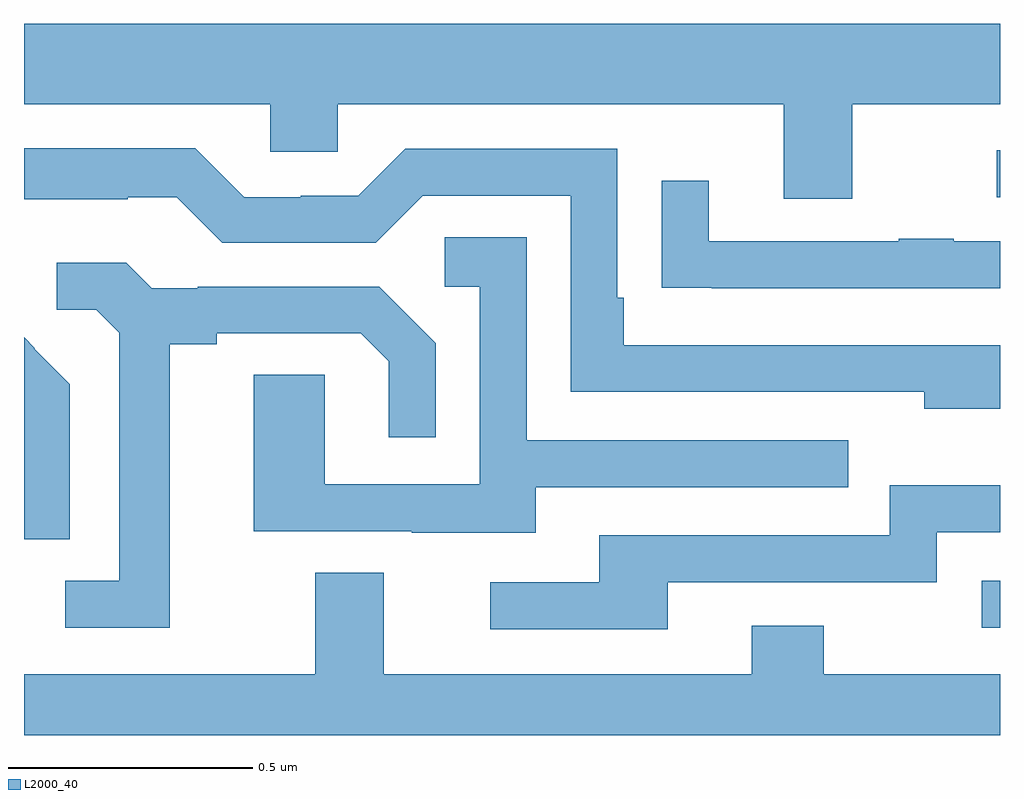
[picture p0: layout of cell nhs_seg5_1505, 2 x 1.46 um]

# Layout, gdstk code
import gdstk
lib = gdstk.Library(unit=1e-6, precision=1e-09)
def R(c, l, rs):  # rectangles x0, y0, x1, y1
    for r in rs: c.add(gdstk.rectangle(r[:2], r[2:], *l))
def P(c, l, *ps):  # polygons
    for p in ps: c.add(gdstk.Polygon(p, *l))
L2000_40 = (2000, 40)

nhs_seg5_1505 = lib.new_cell('nhs_seg5_1505')
R(nhs_seg5_1505, L2000_40, [(132.963,857.019,133,857.115), (132.993,857.901,133,857.997)])
P(nhs_seg5_1505, L2000_40, [(132.697,858.092),(133,858.092),(133,858.256),(131,858.256),(131,858.092),(131.505,858.092),(131.505,857.994),(131.643,857.994),(131.643,858.092),(132.557,858.092),(132.557,857.898),(132.697,857.898)],
  [(133,857.598),(132.229,857.598),(132.229,857.695),(132.216,857.695),(132.216,858),(131.781,858),(131.685,857.904),(131.567,857.904),(131.567,857.901),(131.451,857.901),(131.351,858.001),(131,858.001),(131,857.897),(131.213,857.897),(131.213,857.901),(131.313,857.901),(131.406,857.808),(131.721,857.808),(131.817,857.904),(132.12,857.904),(132.12,857.502),(132.845,857.502),(132.845,857.468),(133,857.468)],
  [(133,857.811),(132.905,857.811),(132.905,857.816),(132.793,857.816),(132.793,857.811),(132.403,857.811),(132.403,857.935),(132.307,857.935),(132.307,857.716),(132.409,857.716),(132.409,857.715),(133,857.715)],
  [(132.049,857.307),(132.689,857.307),(132.689,857.403),(132.03,857.403),(132.03,857.819),(131.862,857.819),(131.862,857.718),(131.934,857.718),(131.934,857.313),(131.616,857.313),(131.616,857.537),(131.471,857.537),(131.471,857.217),(131.795,857.217),(131.795,857.213),(132.049,857.213)],
  [(131.299,857.6),(131.395,857.6),(131.395,857.622),(131.69,857.622),(131.747,857.565),(131.747,857.409),(131.844,857.409),(131.844,857.602),(131.728,857.718),(131.356,857.718),(131.356,857.715),(131.262,857.715),(131.21,857.767),(131.067,857.767),(131.067,857.67),(131.148,857.67),(131.195,857.623),(131.195,857.115),(131.085,857.115),(131.085,857.019),(131.299,857.019)],
  [(131.094,857.518),(131.021,857.591),(131.022,857.592),(131,857.614),(131,857.2),(131.094,857.2)],
  [(132.319,857.112),(132.87,857.112),(132.87,857.214),(133,857.214),(133,857.311),(132.774,857.311),(132.774,857.208),(132.179,857.208),(132.179,857.112),(131.955,857.112),(131.955,857.016),(132.319,857.016)],
  [(133,856.924),(132.639,856.924),(132.639,857.023),(132.491,857.023),(132.491,856.924),(131.737,856.924),(131.737,857.132),(131.597,857.132),(131.597,856.924),(131,856.924),(131,856.799),(133,856.799)])

lib.write_gds('nhs_seg5_1505.gds')
